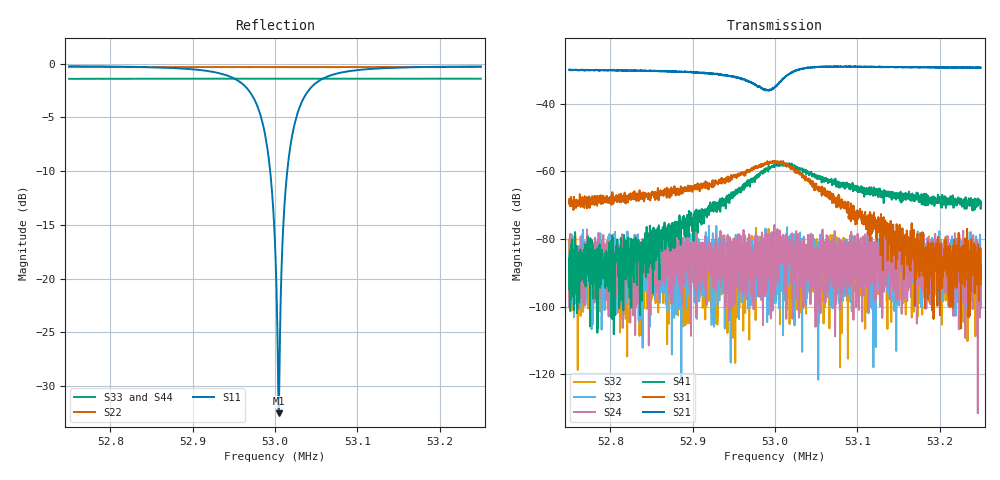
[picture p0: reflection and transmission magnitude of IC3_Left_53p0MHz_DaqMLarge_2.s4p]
#  HZ  S  DB  R  50.00
! Rohde & Schwarz Vector Network Analyzer
! Rohde-Schwarz,ZNB8-4Port,1311601044102961,2.82
! Created: UTC 2/12/2019, 11:42:36 AM
! freq[Hz]  db:S11  ang:S11  db:S12  ang:S12  db:S13  ang:S13  db:S14  ang:S14
!  db:S21  ang:S21  db:S22  ang:S22  db:S23  ang:S23  db:S24  ang:S24
!  db:S31  ang:S31  db:S32  ang:S32  db:S33  ang:S33  db:S34  ang:S34
!  db:S41  ang:S41  db:S42  ang:S42  db:S43  ang:S43  db:S44  ang:S44
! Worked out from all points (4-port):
!   2001 points, 52.75 MHz to 53.25 MHz, reference 50 ohm
!   strongest paths, dB at 52.75 MHz, 52.875 MHz, 53 MHz, 53.125 MHz, 53.25 MHz:
!     S21: -30.0, -30.3, -34.9, -29.0, -29.3
!     S31: -68.2, -66.0, -57.5, -75.3, -93.4
!     S41: -89.2, -78.8, -58.1, -66.4, -69.2
!     S24: -85.8, -80.9, -84.1, -84.9, -84.8
!     S23: -84.8, -82.9, -87.1, -87.6, -93.4
!     S32: -87.4, -90.1, -86.8, -81.8, -97.3
!   lowest |S11| = -32.5 dB at 53.0045 MHz (marker M1), VSWR 1.05, Z = 50.6 - j2.31 ohm
!   |S11| at or under -10 dB: 52.99413 MHz to 53.01489 MHz (20.75 kHz wide, 0.0392 % of centre)
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5.275e7  -0.25 -67.0  -29.96 131.7  -67.50 -80.9  -83.51 -47.9
         -29.97 131.3  -0.33 149.3  -84.80 148.5  -85.82 -23.1
         -68.20 -93.9  -87.35 155.4  -1.42 71.2  -86.09 -89.3
         -89.16 -11.6  -87.00 32.8  -101.89 20.7  -1.38 65.5
5.2969e7  -2.58 -110.8  -33.38 116.7  -58.73 -128.2  -62.86 43.1
          -33.42 116.2  -0.33 144.9  -95.78 -136.2  -92.17 -158.3
          -60.14 -127.5  -86.00 118.4  -1.40 68.6  -88.64 39.9
          -63.58 41.6  -83.97 -114.6  -83.97 -159.2  -1.38 62.9
5.2993e7  -9.20 -138.3  -35.89 141.1  -57.38 -158.6  -58.71 14.2
          -35.77 140.8  -0.33 144.5  -82.38 -59.1  -88.04 -176.5
          -57.42 -157.9  -81.74 -33.6  -1.41 68.3  -92.07 32.5
          -59.25 14.6  -100.28 -140.8  -84.54 -42.1  -1.38 62.6
5.30045e7  -32.52 -74.9  -33.89 158.2  -57.06 -178.4  -58.69 -14.5
           -34.09 157.7  -0.32 144.2  -85.19 6.3  -84.43 128.4
           -57.26 -177.1  -86.16 117.2  -1.41 68.2  -96.18 101.0
           -58.35 -8.3  -80.24 93.3  -91.72 126.9  -1.38 62.5
5.301575e7  -9.39 -7.5  -31.39 158.9  -57.77 160.3  -57.84 -29.3
            -31.46 157.8  -0.32 144.0  -81.47 6.0  -83.11 99.3
            -58.13 161.0  -85.06 -19.9  -1.40 68.0  -97.76 -106.6
            -58.15 -30.2  -84.35 122.7  -86.52 52.1  -1.38 62.3
5.303925e7  -2.66 -34.8  -29.34 146.4  -61.85 129.3  -60.15 -59.7
            -29.32 146.0  -0.32 143.5  -88.43 -91.1  -91.59 127.2
            -62.61 134.7  -82.75 120.7  -1.40 67.8  -83.16 -124.6
            -60.44 -60.1  -87.32 144.0  -94.74 102.4  -1.37 62.0
5.325e7  -0.26 -78.7  -29.34 120.5  -86.94 71.3  -70.07 -93.5
         -29.27 120.1  -0.32 139.4  -93.41 -165.4  -84.77 39.1
         -93.37 -105.8  -97.35 6.7  -1.41 65.3  -104.51 152.2
         -69.16 -97.5  -98.72 -3.8  -94.57 148.5  -1.37 59.5
